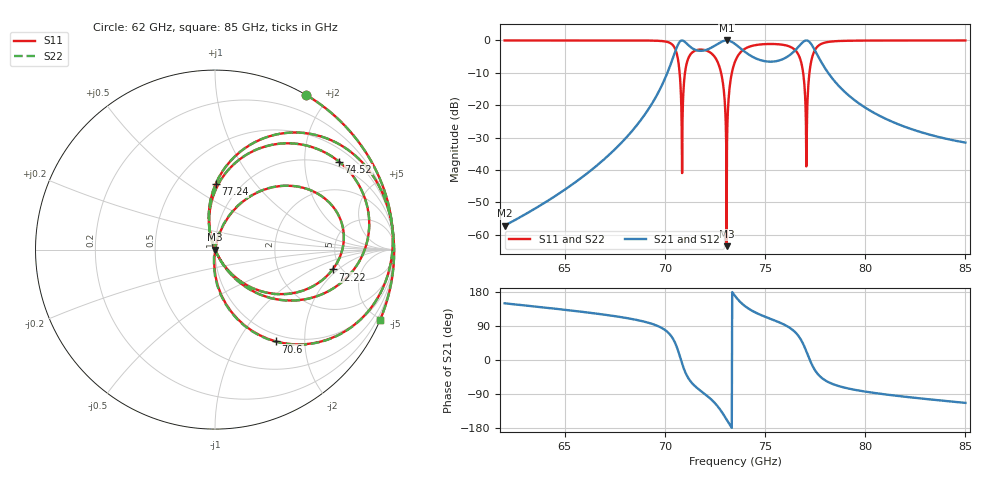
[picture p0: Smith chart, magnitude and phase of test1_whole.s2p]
! Touchstone file exported from HFSS 2020.1.0
!  File:  D:/HFSS/BPF/test1.aedt
!  Generated:  9:42:07 %x4E0B%x5348  9%x6708 22, 2020
!  Design:  whole
!  Project:  test1
!  Setup:  Setup1
!  Solution:  Sweep
! Variables:
!  a = 3.1mm
!  b = 1.55mm
!  cavity_s = 0.2mm
!  cavity_w = 1.37mm
!  cavity_w1 = 1.21mm
!  l1 = 2.26mm
!  l2 = 2.26mm
!  l_source = 1mm
!Data is not renormalized
# GHZ S MA
! Terminal data exported
! Port[1] = 1
! Port[2] = 2
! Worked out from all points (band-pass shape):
!   1151 points, 62 GHz to 85 GHz, reference per port
!   highest |S21| = 0.00 dB at 73.08 GHz (marker M1); lowest = -57.2 dB at 62 GHz (marker M2)
!   |S21| within 3 dB of the highest: 70.54 GHz to 71.56 GHz (1.022 GHz wide, 1.44 % of centre); 72.02 GHz to 73.89 GHz (1.867 GHz wide, 2.56 % of centre)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
!   lowest |S11| = -63.5 dB at 73.08 GHz (marker M3), VSWR 1.00
!   |S11| at or under -10 dB: 70.73556 GHz to 71.00333 GHz (267.8 MHz wide, 0.378 % of centre); 72.81 GHz to 73.34 GHz (538 MHz wide, 0.736 % of centre); 76.90135 GHz to 77.21552 GHz (314.2 MHz wide, 0.408 % of centre)
!   |S22| runs from -63.5 to 0.0 dB; largest |S21 - S12| = 2.5e-13
!   S11 on the Smith chart (normalised r, x): 62 GHz: 0.00, +1.74; 70.6 GHz: 0.89, -1.47; 72.22 GHz: 4.26, -1.69; 74.52 GHz: 0.84, +2.92; 77.24 GHz: 0.77, +0.65; 85 GHz: 0.00, -4.89
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62  1 59.7  0.001381 149.6  0.001381 149.6  1 59.6
65.84  1 37.3  0.007605 127.3  0.007605 127.3  1 37.3
69.68  0.9873 -1.1  0.159 88.9  0.159 88.9  0.9873 -1.2
70.24  0.9205 -21.9  0.3906 68.0  0.3906 68.0  0.9205 -22.0
70.6  0.6141 -56.4  0.7892 33.4  0.7892 33.4  0.6141 -56.7
70.86  0.008945 73.3  1 -9.6  1 -9.6  0.008945 87.5
71.22  0.5712 38.1  0.8208 -51.9  0.8208 -51.9  0.5712 38.2
72.22  0.6648 -9.6  0.747 -99.6  0.747 -99.6  0.6648 -9.6
72.8  0.3216 -43.9  0.9469 -134.0  0.9469 -134.0  0.3216 -44.1
73.08  0.0006655 -0.1  1 -157.1  1 -157.1  0.0006656 -134.1
73.28  0.2453 95.7  0.9695 -174.2  0.9695 -174.2  0.2453 96.0
73.5  0.4696 78.9  0.8829 169.0  0.8829 169.0  0.4696 79.1
74.52  0.8471 35.4  0.5314 125.4  0.5314 125.4  0.8471 35.4
76  0.845 2.2  0.5348 92.2  0.5348 92.2  0.845 2.2
76.74  0.5329 -32.0  0.8462 57.9  0.8462 57.9  0.5329 -32.1
77.06  0.01136 -64.6  0.9999 23.2  0.9999 23.2  0.01136 -69.0
77.24  0.3641 89.5  0.9313 -0.5  0.9313 -0.5  0.3641 89.6
77.34  0.5338 77.7  0.8456 -12.3  0.8456 -12.3  0.5338 77.8
77.78  0.8772 45.0  0.48 -45.0  0.48 -45.0  0.8772 45.0
78.34  0.9647 27.4  0.2634 -62.6  0.2634 -62.6  0.9647 27.4
81.18  0.9983 -2.0  0.05854 -92.0  0.05854 -92.0  0.9983 -2.0
85  0.9996 -23.1  0.02646 -113.1  0.02646 -113.1  0.9996 -23.1
